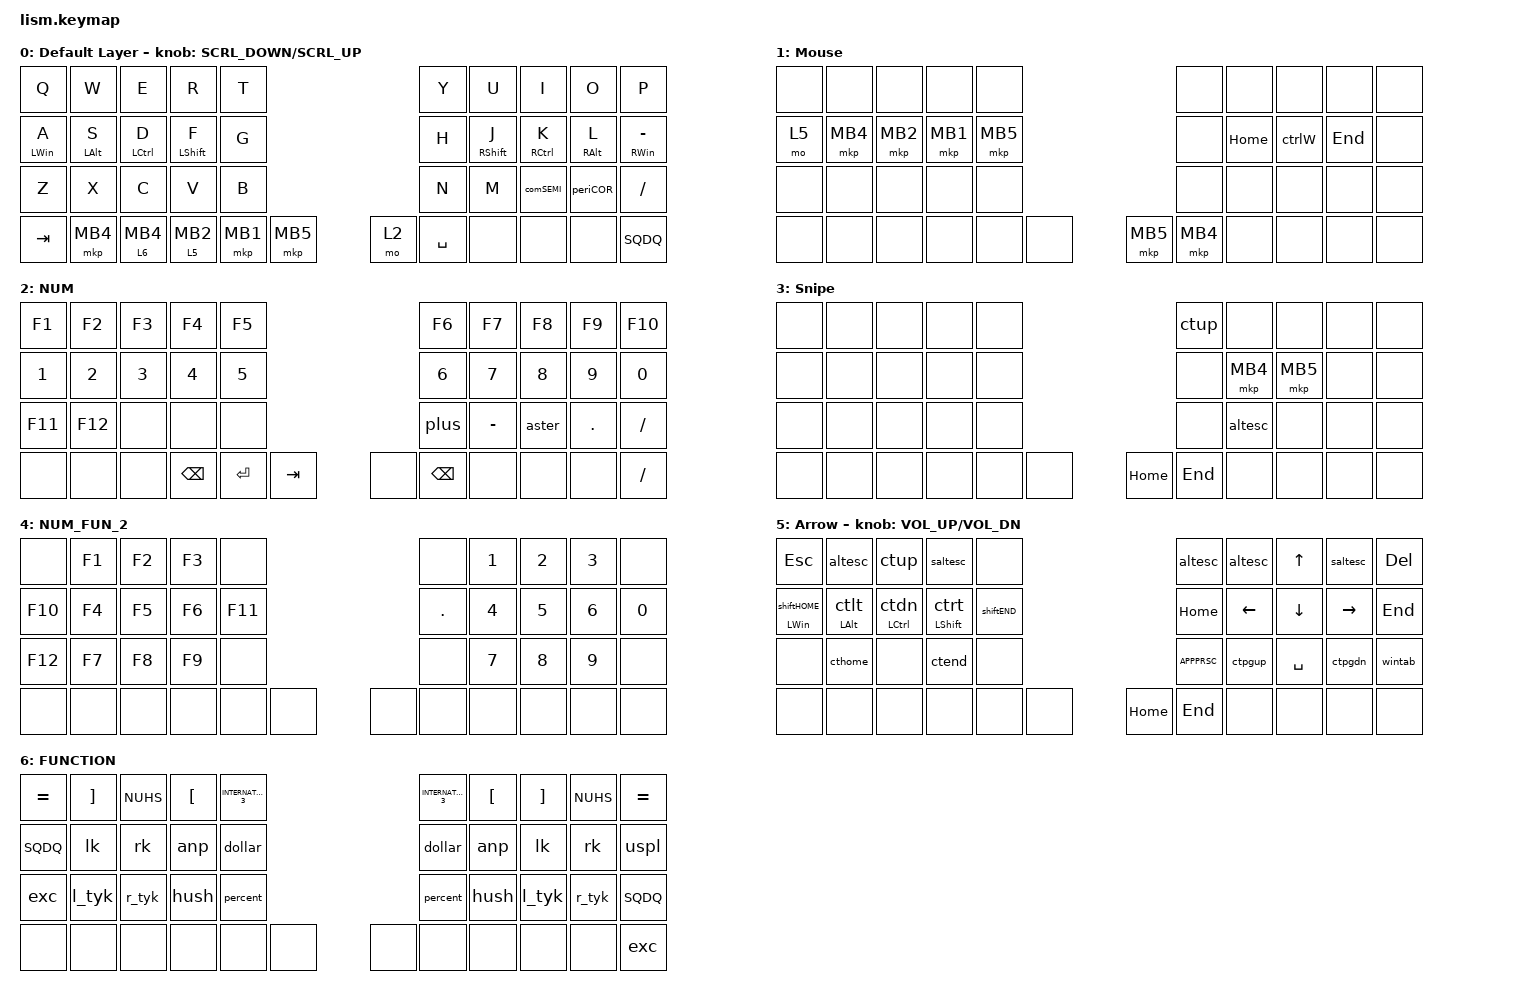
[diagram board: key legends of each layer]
#define ZMK_POINTING_DEFAULT_SCRL_VAL 200

#include <dt-bindings/zmk/mouse.h>
#include <behaviors.dtsi>
#include <dt-bindings/zmk/keys.h>
#include <dt-bindings/zmk/pointing.h>

//&mkp_input_listener { input-processors = <&zip_temp_layer 1 250>; };
//&msc_input_listener { input-processors = <&zip_temp_layer 1 10000>; };

/ {
    macros {
        emoji: emoji_macro {
            compatible = "zmk,behavior-macro";
            label = "EMOJI";
            #binding-cells = <0>;
            bindings =
                <&macro_press>,
                <&kp CAPSLOCK>,
                <&macro_tap>,
                <&kp E>,
                <&macro_release>,
                <&kp CAPSLOCK>;
        };

        exc: exc {
            compatible = "zmk,behavior-macro";
            #binding-cells = <0>;
            bindings =
                <&macro_press>,
                <&kp LEFT_SHIFT>,
                <&macro_wait_time 50>,
                <&kp N1>,
                <&macro_release>,
                <&kp N1 &kp LEFT_SHIFT>;

            label = "EXC";
        };

        dq: dq {
            compatible = "zmk,behavior-macro";
            #binding-cells = <0>;
            bindings =
                <&macro_press>,
                <&kp LEFT_SHIFT>,
                <&macro_wait_time 50>,
                <&kp N2>,
                <&macro_release>,
                <&kp N2 &kp LEFT_SHIFT>;

            label = "DQ";
        };

        hush: hush {
            compatible = "zmk,behavior-macro";
            #binding-cells = <0>;
            bindings =
                <&macro_press>,
                <&kp LEFT_SHIFT>,
                <&macro_wait_time 50>,
                <&kp N3>,
                <&macro_release>,
                <&kp N3 &kp LEFT_SHIFT>;

            label = "HUSH";
        };

        dollar: dollar {
            compatible = "zmk,behavior-macro";
            #binding-cells = <0>;
            bindings =
                <&macro_press>,
                <&kp LEFT_SHIFT>,
                <&macro_wait_time 50>,
                <&kp N4>,
                <&macro_release>,
                <&kp N4 &kp LEFT_SHIFT>;

            label = "DOLLAR";
        };

        percent: percent {
            compatible = "zmk,behavior-macro";
            #binding-cells = <0>;
            bindings =
                <&macro_press>,
                <&kp LEFT_SHIFT>,
                <&macro_wait_time 50>,
                <&kp N5>,
                <&macro_release>,
                <&kp N5 &kp LEFT_SHIFT>;

            label = "PERCENT";
        };

        anp: anp {
            compatible = "zmk,behavior-macro";
            #binding-cells = <0>;
            bindings =
                <&macro_press>,
                <&kp LEFT_SHIFT>,
                <&macro_wait_time 50>,
                <&kp N6>,
                <&macro_release>,
                <&kp N6 &kp LEFT_SHIFT>;

            label = "ANP";
        };

        sq: sq {
            compatible = "zmk,behavior-macro";
            #binding-cells = <0>;
            bindings =
                <&macro_press>,
                <&kp LEFT_SHIFT>,
                <&macro_wait_time 50>,
                <&kp N7>,
                <&macro_release>,
                <&kp N7 &kp LEFT_SHIFT>;

            label = "SQ";
        };

        lk: lk {
            compatible = "zmk,behavior-macro";
            #binding-cells = <0>;
            bindings =
                <&macro_press>,
                <&kp LEFT_SHIFT>,
                <&macro_wait_time 50>,
                <&kp N8>,
                <&macro_release>,
                <&kp N8 &kp LEFT_SHIFT>;

            label = "lk";
        };

        rk: rk {
            compatible = "zmk,behavior-macro";
            #binding-cells = <0>;
            bindings =
                <&macro_press>,
                <&kp LEFT_SHIFT>,
                <&macro_wait_time 50>,
                <&kp N9>,
                <&macro_release>,
                <&kp N9 &kp LEFT_SHIFT>;

            label = "RK";
        };

        us: us {
            compatible = "zmk,behavior-macro";
            #binding-cells = <0>;
            bindings =
                <&macro_press>,
                <&kp LEFT_SHIFT>,
                <&macro_wait_time 50>,
                <&kp INT_RO>,
                <&macro_release>,
                <&kp INT_RO &kp LEFT_SHIFT>;

            label = "US";
        };

        pl: pl {
            compatible = "zmk,behavior-macro";
            #binding-cells = <0>;
            bindings =
                <&macro_press>,
                <&kp RSHFT>,
                <&macro_wait_time 50>,
                <&kp INT3>,
                <&macro_release>,
                <&kp INT3 &kp RSHFT>;

            label = "PL";
        };

        eql: eql {
            compatible = "zmk,behavior-macro";
            #binding-cells = <0>;
            bindings =
                <&macro_press>,
                <&kp LEFT_SHIFT>,
                <&macro_wait_time 50>,
                <&kp MINUS>,
                <&macro_release>,
                <&kp MINUS &kp LEFT_SHIFT>;

            label = "EQL";
        };

        tilde: tilde {
            compatible = "zmk,behavior-macro";
            #binding-cells = <0>;
            bindings =
                <&macro_press>,
                <&kp LEFT_SHIFT>,
                <&macro_wait_time 50>,
                <&kp EQUAL>,
                <&macro_release>,
                <&kp EQUAL &kp LEFT_SHIFT>;

            label = "TILDE";
        };

        plus: plus {
            compatible = "zmk,behavior-macro";
            #binding-cells = <0>;
            bindings =
                <&macro_press>,
                <&kp LEFT_SHIFT>,
                <&macro_wait_time 50>,
                <&kp SEMI>,
                <&macro_release>,
                <&kp SEMI &kp LEFT_SHIFT>;

            label = "PLUS";
        };

        aster: aster {
            compatible = "zmk,behavior-macro";
            #binding-cells = <0>;
            bindings =
                <&macro_press>,
                <&kp LEFT_SHIFT>,
                <&macro_wait_time 50>,
                <&kp SINGLE_QUOTE>,
                <&macro_release>,
                <&kp SINGLE_QUOTE &kp LEFT_SHIFT>;

            label = "ASTER";
        };

        stab: stab {
            compatible = "zmk,behavior-macro";
            #binding-cells = <0>;
            bindings =
                <&macro_press>,
                <&kp LEFT_SHIFT>,
                <&macro_wait_time 20>,
                <&kp TAB>,
                <&macro_release>,
                <&kp TAB &kp LEFT_SHIFT>;

            label = "STAB";
        };

        endapp: endapp {
            compatible = "zmk,behavior-macro";
            #binding-cells = <0>;
            bindings =
                <&macro_press>,
                <&kp LEFT_ALT>,
                <&macro_wait_time 50>,
                <&kp F4>,
                <&macro_release>,
                <&kp F4 &kp LEFT_ALT>;

            label = "ENDAPP";
        };

        calte: calte {
            compatible = "zmk,behavior-macro";
            #binding-cells = <0>;
            bindings = <&kp N3 &kp N7 &kp N0 &kp N8 &kp TAB &kp Q &kp W &kp E &kp R &kp T &kp Y &kp U &kp I &kp O &kp P &kp N1 &kp N2 &kp N3 &kp ENTER>;
            label = "CALTE";
        };

        evalue: evalue {
            compatible = "zmk,behavior-macro";
            #binding-cells = <0>;
            bindings = <&kp N3 &kp N7 &kp N0 &kp N8 &kp TAB &kp N0 &kp N8 &kp N6 &kp N2 &kp ENTER>;
            label = "EVALUE";
        };

        ctpgup: ctpgup {
            compatible = "zmk,behavior-macro";
            #binding-cells = <0>;
            bindings =
                <&macro_press>,
                <&kp LCTRL>,
                <&macro_wait_time 20>,
                <&kp PG_UP>,
                <&macro_release>,
                <&kp PG_UP &kp LCTRL>;

            label = "CTPGUP";
        };

        ctpgdn: ctpgdn {
            compatible = "zmk,behavior-macro";
            #binding-cells = <0>;
            bindings =
                <&macro_press>,
                <&kp LCTRL>,
                <&macro_wait_time 20>,
                <&kp PG_DN>,
                <&macro_release>,
                <&kp PG_DN &kp LCTRL>;

            label = "CTPGDN";
        };

        cthome: cthome {
            compatible = "zmk,behavior-macro";
            #binding-cells = <0>;
            bindings =
                <&macro_press>,
                <&kp LCTRL>,
                <&macro_wait_time 50>,
                <&kp HOME>,
                <&macro_release>,
                <&kp HOME &kp LCTRL>;

            label = "CTHOME";
        };

        ctend: ctend {
            compatible = "zmk,behavior-macro";
            #binding-cells = <0>;
            bindings =
                <&macro_press>,
                <&kp LCTRL>,
                <&macro_wait_time 50>,
                <&kp END>,
                <&macro_release>,
                <&kp END &kp LCTRL>;

            label = "CTEND";
        };

        ctdel: ctdel {
            compatible = "zmk,behavior-macro";
            #binding-cells = <0>;
            bindings =
                <&macro_press>,
                <&kp LCTRL>,
                <&macro_wait_time 50>,
                <&kp DELETE>,
                <&macro_release>,
                <&kp DELETE &kp LCTRL>;

            label = "CTDEL";
        };

        ctrlW: copy {
            compatible = "zmk,behavior-macro";
            #binding-cells = <0>;
            bindings =
                <&macro_press>,
                <&kp LCTRL>,
                <&macro_wait_time 50>,
                <&kp W>,
                <&macro_release>,
                <&kp W &kp LCTRL>;

            label = "COPY";
        };

        paste: paste {
            compatible = "zmk,behavior-macro";
            #binding-cells = <0>;
            bindings =
                <&macro_press>,
                <&kp LCTRL>,
                <&macro_wait_time 50>,
                <&kp V>,
                <&macro_release>,
                <&kp V &kp LCTRL>;

            label = "PASTE";
        };

        cut: cut {
            compatible = "zmk,behavior-macro";
            #binding-cells = <0>;
            bindings =
                <&macro_press>,
                <&kp LCTRL>,
                <&macro_wait_time 50>,
                <&kp Z>,
                <&macro_release>,
                <&kp Z &kp LCTRL>;

            label = "CUT";
        };

        VBE: VBE {
            compatible = "zmk,behavior-macro";
            #binding-cells = <0>;
            bindings =
                <&macro_press>,
                <&kp LEFT_ALT>,
                <&macro_wait_time 50>,
                <&kp F11>,
                <&macro_release>,
                <&kp F11 &kp LEFT_ALT>;

            label = "VBE";
        };

        prompt: prompt {
            compatible = "zmk,behavior-macro";
            #binding-cells = <0>;
            bindings =
                <&macro_press>,
                <&kp LEFT_WIN>,
                <&macro_wait_time 50>,
                <&kp R>,
                <&macro_release>,
                <&kp R &kp LEFT_WIN>;

            label = "PROMPT";
        };

        ca: ca {
            compatible = "zmk,behavior-macro";
            #binding-cells = <0>;
            bindings =
                <&macro_press>,
                <&kp LCTRL>,
                <&macro_wait_time 50>,
                <&kp A>,
                <&macro_release>,
                <&kp A &kp LCTRL>;

            label = "CA";
        };

        ctrl_t: ctrl_t {
            compatible = "zmk,behavior-macro";
            #binding-cells = <0>;
            bindings =
                <&macro_press>,
                <&kp LCTRL>,
                <&macro_wait_time 50>,
                <&kp T>,
                <&macro_release>,
                <&kp T &kp LCTRL>;

            label = "CTRL_T";
        };

        ctrl_w: ctrl_w {
            compatible = "zmk,behavior-macro";
            #binding-cells = <0>;
            bindings =
                <&macro_press>,
                <&kp LCTRL>,
                <&macro_wait_time 50>,
                <&kp W>,
                <&macro_release>,
                <&kp W &kp LCTRL>;

            label = "CTRL_W";
        };

        altleft: altleft {
            compatible = "zmk,behavior-macro";
            #binding-cells = <0>;
            bindings =
                <&macro_press>,
                <&kp LEFT_ALT>,
                <&macro_wait_time 20>,
                <&kp LEFT_ARROW>,
                <&macro_release>,
                <&kp LEFT_ARROW &kp LALT>;

            label = "ALTLEFT";
        };

        altright: altright {
            compatible = "zmk,behavior-macro";
            #binding-cells = <0>;
            bindings =
                <&macro_press>,
                <&kp LALT>,
                <&macro_wait_time 20>,
                <&kp RIGHT>,
                <&macro_release>,
                <&kp RIGHT &kp LEFT_ALT>;

            label = "ALTRIGHT";
        };

        altup: altup {
            compatible = "zmk,behavior-macro";
            #binding-cells = <0>;
            bindings =
                <&macro_press>,
                <&kp LEFT_ALT>,
                <&macro_wait_time 20>,
                <&kp UP_ARROW>,
                <&macro_release>,
                <&kp UP_ARROW &kp LALT>;

            label = "ALTUP";
        };

        altdown: altdown {
            compatible = "zmk,behavior-macro";
            #binding-cells = <0>;
            bindings =
                <&macro_press>,
                <&kp LEFT_ALT>,
                <&macro_wait_time 20>,
                <&kp DOWN>,
                <&macro_release>,
                <&kp DOWN_ARROW &kp LEFT_ALT>;

            label = "ALTDOWN";
        };

        L_yamakakko: lyk {
            compatible = "zmk,behavior-macro";
            #binding-cells = <0>;
            bindings =
                <&macro_press>,
                <&kp LEFT_SHIFT>,
                <&macro_wait_time 20>,
                <&kp COMMA>,
                <&macro_release>,
                <&kp COMMA &kp LEFT_SHIFT>;

            label = "LYK";
        };

        R_yamakakko: Ryamak {
            compatible = "zmk,behavior-macro";
            #binding-cells = <0>;
            bindings =
                <&macro_press>,
                <&kp LEFT_SHIFT>,
                <&macro_wait_time 20>,
                <&kp PERIOD>,
                <&macro_release>,
                <&kp PERIOD &kp LEFT_SHIFT>;

            label = "RYAMAK";
        };

        altesc: altesc {
            compatible = "zmk,behavior-macro";
            #binding-cells = <0>;
            bindings =
                <&macro_press>,
                <&kp RIGHT_ALT>,
                <&macro_wait_time 20>,
                <&kp ESCAPE>,
                <&macro_release>,
                <&kp ESCAPE &kp RIGHT_ALT>;

            label = "ALTESC";
        };

        saltesc: saltesc {
            compatible = "zmk,behavior-macro";
            #binding-cells = <0>;
            bindings =
                <&macro_press>,
                <&kp RIGHT_ALT &kp RSHIFT>,
                <&macro_wait_time 20>,
                <&kp ESCAPE>,
                <&macro_release>,
                <&kp ESCAPE &kp RIGHT_ALT &kp RSHIFT>;

            label = "SALTESC";
        };

        ctrlplus: ctrlplus {
            compatible = "zmk,behavior-macro";
            #binding-cells = <0>;
            bindings =
                <&macro_press>,
                <&kp LCTRL &kp LSHFT>,
                <&macro_wait_time 20>,
                <&kp SEMI>,
                <&macro_release>,
                <&kp SEMI &kp LCTRL &kp LSHFT>;

            label = "CTRLPLUS";
        };

        ctrlminus: ctrlminus {
            compatible = "zmk,behavior-macro";
            #binding-cells = <0>;
            bindings =
                <&macro_press>,
                <&kp LCTRL>,
                <&macro_wait_time 50>,
                <&kp MINUS>,
                <&macro_release>,
                <&kp MINUS &kp LCTRL>;

            label = "CTRLMINUS";
        };

        ctup: ctup {
            compatible = "zmk,behavior-macro";
            #binding-cells = <0>;
            bindings =
                <&macro_press>,
                <&kp LCTRL>,
                <&macro_wait_time 50>,
                <&kp UP_ARROW>,
                <&macro_release>,
                <&kp UP_ARROW &kp LCTRL>;

            label = "CTUP";
        };

        ctdn: ctdn {
            compatible = "zmk,behavior-macro";
            #binding-cells = <0>;
            bindings =
                <&macro_press>,
                <&kp LCTRL>,
                <&macro_wait_time 50>,
                <&kp DOWN_ARROW>,
                <&macro_release>,
                <&kp DOWN_ARROW &kp LCTRL>;

            label = "CTDN";
        };

        ctlt: ctlt {
            compatible = "zmk,behavior-macro";
            #binding-cells = <0>;
            bindings =
                <&macro_press>,
                <&kp LCTRL>,
                <&macro_wait_time 50>,
                <&kp LEFT_ARROW>,
                <&macro_release>,
                <&kp LEFT_ARROW &kp LCTRL>;

            label = "CTLT";
        };

        ctrt: ctrt {
            compatible = "zmk,behavior-macro";
            #binding-cells = <0>;
            bindings =
                <&macro_press>,
                <&kp LCTRL>,
                <&macro_wait_time 50>,
                <&kp RIGHT>,
                <&macro_release>,
                <&kp RIGHT &kp LCTRL>;

            label = "CTRT";
        };

        l_tyk: l_tyk {
            compatible = "zmk,behavior-macro";
            #binding-cells = <0>;
            bindings =
                <&macro_press>,
                <&kp LEFT_SHIFT>,
                <&macro_wait_time 20>,
                <&kp RIGHT_BRACKET>,
                <&macro_release>,
                <&kp RIGHT_BRACKET &kp LEFT_SHIFT>;

            label = "L_TYK";
        };

        r_tyk: r_tyk {
            compatible = "zmk,behavior-macro";
            #binding-cells = <0>;
            bindings =
                <&macro_press>,
                <&kp LEFT_SHIFT>,
                <&macro_wait_time 20>,
                <&kp NUHS>,
                <&macro_release>,
                <&kp NUHS &kp LEFT_SHIFT>;

            label = "R_TYK";
        };

        ctbs: ctbs {
            compatible = "zmk,behavior-macro";
            #binding-cells = <0>;
            bindings =
                <&macro_press>,
                <&kp LCTRL>,
                <&macro_wait_time 20>,
                <&kp BACKSPACE>,
                <&macro_release>,
                <&kp BACKSPACE &kp LCTRL>;

            label = "CTBS";
        };

        wintab: wintab {
            compatible = "zmk,behavior-macro";
            #binding-cells = <0>;
            bindings =
                <&macro_press>,
                <&kp LWIN>,
                <&macro_wait_time 20>,
                <&kp TAB>,
                <&macro_release>,
                <&kp TAB &kp LWIN>;

            label = "WINTAB";
        };

        altprsc: altprsc {
            compatible = "zmk,behavior-macro";
            #binding-cells = <0>;
            bindings =
                <&macro_press>,
                <&kp LEFT_ALT>,
                <&macro_wait_time 20>,
                <&kp PRINTSCREEN>,
                <&macro_release>,
                <&kp PRINTSCREEN &kp LEFT_ALT>;

            label = "ALTPRSC";
        };

        winshiftS: winshiftS {
            compatible = "zmk,behavior-macro";
            #binding-cells = <0>;
            bindings =
                <&macro_press>,
                <&kp LEFT_WIN>,
                <&macro_wait_time 20>,
                <&kp LSHFT>,
                <&macro_wait_time 20>,
                <&kp S>,
                <&macro_release>,
                <&kp S &kp LEFT_WIN &kp LSHFT>;

            label = "WINSHIFTS";
        };

        shiftHOME: shiftHOME {
            compatible = "zmk,behavior-macro";
            #binding-cells = <0>;
            bindings =
                <&macro_press>,
                <&kp LEFT_SHIFT>,
                <&macro_wait_time 20>,
                <&kp HOME>,
                <&macro_release>,
                <&kp HOME &kp LEFT_SHIFT>;

            label = "SHIFTHOME";
        };

        shiftEND: shiftEND {
            compatible = "zmk,behavior-macro";
            #binding-cells = <0>;
            bindings =
                <&macro_press>,
                <&kp LEFT_SHIFT>,
                <&macro_wait_time 20>,
                <&kp END>,
                <&macro_release>,
                <&kp END &kp LEFT_SHIFT>;

            label = "SHIFTEND";
        };
    };

    behaviors {
        encoder_msc: sensor_rotate_msc {
            compatible = "zmk,behavior-sensor-rotate-var";
            #sensor-binding-cells = <2>;
            bindings = <&msc>, <&msc>;

            tap-ms = <20>;
        };

        encoder_kp: sensor_rotate_kp {
            compatible = "zmk,behavior-sensor-rotate-var";
            #sensor-binding-cells = <2>;
            bindings = <&kp>, <&kp>;
        };

        L_HRM: L_HRM {
            compatible = "zmk,behavior-hold-tap";
            label = "L_HRM";
            bindings = <&kp>, <&kp>;

            #binding-cells = <2>;
            tapping-term-ms = <400>;
            quick-tap-ms = <175>;
            require-prior-idle-ms = <200>;
            flavor = "balanced";
            hold-trigger-key-positions = <5 6 7 8 9 15 16 17 18 19 25 26 27 28 29 36 37 38 39 40 41>;
            hold-trigger-on-release;
        };

        R_HRM: R_HRM {
            compatible = "zmk,behavior-hold-tap";
            label = "R_HRM";
            bindings = <&kp>, <&kp>;

            #binding-cells = <2>;
            tapping-term-ms = <400>;
            quick-tap-ms = <175>;
            require-prior-idle-ms = <200>;
            flavor = "balanced";
            hold-trigger-key-positions = <0 1 2 3 4 10 11 12 13 14 20 21 22 23 24 30 31 32 33 34 35>;
            hold-trigger-on-release;
        };

        L_THUMB: L_THUMB {
            compatible = "zmk,behavior-hold-tap";
            label = "L_THUMB";
            bindings = <&mo>, <&kp>;

            #binding-cells = <2>;
            tapping-term-ms = <200>;
            quick-tap-ms = <175>;
            require-prior-idle-ms = <150>;
            flavor = "balanced";
            hold-trigger-key-positions = <5 6 7 8 9 15 16 17 18 19 10 11 12 13 14 0 1 2 3 4 20 21 22 23 24 30 31 32 33 34 35 25 26 27 28 29 37 38 39 40 41 36>;
            hold-trigger-on-release;
        };

        R_THUMB: R_THUMB {
            compatible = "zmk,behavior-hold-tap";
            label = "R_THUMB";
            bindings = <&mo>, <&kp>;

            #binding-cells = <2>;
            tapping-term-ms = <200>;
            quick-tap-ms = <175>;
            require-prior-idle-ms = <150>;
            flavor = "balanced";
            hold-trigger-key-positions = <0 1 2 3 4 10 11 12 13 14 20 21 22 23 24 30 31 32 33 34 35>;
            hold-trigger-on-release;
        };

        S_key: S_key {
            compatible = "zmk,behavior-sticky-key";
            label = "S_KEY";
            bindings = <&kp>;
            #binding-cells = <1>;
            release-after-ms = <500>;
        };

        C_W: C_W {
            compatible = "zmk,behavior-caps-word";
            label = "C_W";
            #binding-cells = <0>;
            continue-list = <INT_YEN INT_RO A B C D E F G H I J K L M N O P Q R S T U V W X Y Z N1 N2 N3 N4 N5 N6 N7 N8 N9 N0 MINUS BACKSPACE>;
            mods = <(MOD_LSFT|MOD_RSFT)>;
        };

        coron: coron {
            compatible = "zmk,behavior-mod-morph";
            label = "CORON";
            bindings = <&kp PERIOD>, <&kp SINGLE_QUOTE>;

            #binding-cells = <0>;
            mods = <(MOD_LCTL|MOD_LSFT|MOD_LALT|MOD_LGUI)>;
        };

        semicoron: semicoron {
            compatible = "zmk,behavior-mod-morph";
            label = "SEMICORON";
            bindings = <&kp COMMA>, <&kp SEMICOLON>;

            #binding-cells = <0>;
            mods = <(MOD_LCTL|MOD_LSFT|MOD_LALT|MOD_LGUI)>;
        };

        hussexc: hussexc {
            compatible = "zmk,behavior-mod-morph";
            label = "HUSSEXC";
            bindings = <&hush>, <&kp NUMBER_1>;

            #binding-cells = <0>;
            mods = <(MOD_LCTL|MOD_LSFT|MOD_LALT|MOD_LGUI)>;
            keep-mods = <(MOD_LSFT)>;
        };

        MML_KAKKO: MML_KAKKO {
            compatible = "zmk,behavior-mod-morph";
            label = "MML_KAKKO";
            bindings = <&lk>, <&kp COMMA>;

            #binding-cells = <0>;
            mods = <(MOD_LCTL|MOD_LSFT|MOD_LALT|MOD_LGUI)>;
            keep-mods = <(MOD_LSFT)>;
        };

        MMR_KAKKO: MMR_KAKKO {
            compatible = "zmk,behavior-mod-morph";
            label = "MMR_KAKKO";
            bindings = <&rk>, <&kp PERIOD>;

            #binding-cells = <0>;
            mods = <(MOD_LCTL|MOD_LSFT|MOD_LALT|MOD_LGUI)>;
            keep-mods = <(MOD_LSFT)>;
        };

        YOKOBOU: YOKOBOU {
            compatible = "zmk,behavior-mod-morph";
            label = "YOKOBOU";
            bindings = <&kp MINUS>, <&kp MINUS>;

            #binding-cells = <0>;
            mods = <(MOD_LSFT|MOD_LCTL|MOD_LALT|MOD_LGUI)>;
            keep-mods = <(MOD_LSFT)>;
        };

        RMTwin: RMTwin {
            compatible = "zmk,behavior-hold-tap";
            label = "RMTWIN";
            bindings = <&kp>, <&YOKOBOU>;

            #binding-cells = <2>;
            tapping-term-ms = <400>;
            quick-tap-ms = <175>;
            require-prior-idle-ms = <200>;
            flavor = "balanced";
            hold-trigger-key-positions = <0 1 2 3 4 10 11 12 13 14 20 21 22 23 24 30 31 32 33 34 35>;
            hold-trigger-on-release;
        };

        L_LT: L_LT {
            compatible = "zmk,behavior-hold-tap";
            label = "L_LT";
            bindings = <&mo>, <&kp>;

            #binding-cells = <2>;
            tapping-term-ms = <200>;
            quick-tap-ms = <175>;
            require-prior-idle-ms = <200>;
            flavor = "balanced";
            hold-trigger-key-positions = <5 6 7 8 9 15 16 17 18 19 25 26 27 28 29 37 38 39 40 41 36>;
            hold-trigger-on-release;
        };

        R_LT: R_LT {
            compatible = "zmk,behavior-hold-tap";
            label = "R_LT";
            bindings = <&mo>, <&kp>;

            #binding-cells = <2>;
            tapping-term-ms = <200>;
            quick-tap-ms = <175>;
            require-prior-idle-ms = <200>;
            flavor = "balanced";
            hold-trigger-key-positions = <0 1 2 3 4 10 11 12 13 14 20 21 22 23 24 30 31 32 33 34 35>;
            hold-trigger-on-release;
        };

        athutt: athutt {
            compatible = "zmk,behavior-mod-morph";
            label = "ATHUTT";
            bindings = <&kp LBKT>, <&kp EQUAL>;

            #binding-cells = <0>;
            mods = <(MOD_LCTL|MOD_LSFT|MOD_LALT|MOD_LGUI)>;
        };

        plper: plper {
            compatible = "zmk,behavior-mod-morph";
            label = "PLPER";
            bindings = <&pl>, <&kp N5>;

            #binding-cells = <0>;
            mods = <(MOD_LSFT)>;
            keep-mods = <(MOD_LSFT)>;
        };

        sl_sp: sl_sp {
            compatible = "zmk,behavior-hold-tap";
            label = "SL_SP";
            bindings = <&mo>, <&kp>;

            #binding-cells = <2>;
            tapping-term-ms = <180>;
            flavor = "balanced";
        };

        R_Th_space: R_Th_space {
            compatible = "zmk,behavior-hold-tap";
            label = "R_TH_SPACE";
            bindings = <&mo>, <&kp>;

            #binding-cells = <2>;
            tapping-term-ms = <180>;
            quick-tap-ms = <170>;
            require-prior-idle-ms = <170>;
            flavor = "hold-preferred";
            hold-trigger-key-positions = <5 6 7 9 8 15 16 5 6 7 8 9 15 16 17 18 19 25 26 27 28 29 37 38 39 40 41 36>;
            hold-trigger-on-release;
        };

        SL_SP2: SL_SP2 {
            compatible = "zmk,behavior-hold-tap";
            label = "SL_SP2";
            bindings = <&mo>, <&kp>;

            #binding-cells = <2>;
            tapping-term-ms = <185>;
            flavor = "balanced";
        };

        L_carte: L_carte {
            compatible = "zmk,behavior-hold-tap";
            label = "L_CARTE";
            bindings = <&kp>, <&calte>;

            #binding-cells = <2>;
            tapping-term-ms = <170>;
            flavor = "balanced";
        };

        R_evalue: R_evalue {
            compatible = "zmk,behavior-hold-tap";
            label = "R_EVALUE";
            bindings = <&kp>, <&evalue>;

            #binding-cells = <2>;
            tapping-term-ms = <170>;
            flavor = "balanced";
        };

        L_THUMB3: L_THUMB3 {
            compatible = "zmk,behavior-hold-tap";
            label = "L_THUMB3";
            bindings = <&mo>, <&altesc>;

            #binding-cells = <2>;
            tapping-term-ms = <200>;
            quick-tap-ms = <175>;
            require-prior-idle-ms = <150>;
            flavor = "balanced";
            hold-trigger-key-positions = <5 6 7 8 9 15 16 17 18 19 25 26 27 28 29 36 37 38 39 40 41>;
            hold-trigger-on-release;
        };

        MLSP: MLSP {
            compatible = "zmk,behavior-hold-tap";
            label = "MLSP";
            bindings = <&mo>, <&kp>;

            #binding-cells = <2>;
            tapping-term-ms = <180>;
            quick-tap-ms = <150>;
            flavor = "balanced";
            hold-trigger-key-positions = <16 37 36 18 26>;
            require-prior-idle-ms = <200>;
            hold-trigger-on-release;
        };

        SLSP: SLSP {
            compatible = "zmk,behavior-hold-tap";
            label = "SLSP";
            bindings = <&mo>, <&none>;

            #binding-cells = <2>;
            tapping-term-ms = <1>;
        };

        USPL_L5: USPL_L5 {
            compatible = "zmk,behavior-hold-tap";
            label = "USPL_L5";
            bindings = <&mo>, <&uspl>;

            #binding-cells = <2>;
            tapping-term-ms = <180>;
            quick-tap-ms = <175>;
            flavor = "balanced";
            hold-trigger-key-positions = <16 17 15 18>;
        };

        MINUS_L5: MINUS_L5 {
            compatible = "zmk,behavior-hold-tap";
            label = "MINUS_L5";
            bindings = <&mo>, <&kp>;

            #binding-cells = <2>;
            tapping-term-ms = <175>;
            quick-tap-ms = <175>;
            flavor = "balanced";
            hold-trigger-key-positions = <15 16 17 18 7 36 37>;
        };

        SL_SP3: SL_SP3 {
            compatible = "zmk,behavior-hold-tap";
            label = "SL_SP3";
            bindings = <&mo>, <&mkp>;

            #binding-cells = <2>;
            tapping-term-ms = <180>;
        };

        uspl: uspl {
            compatible = "zmk,behavior-mod-morph";
            label = "USPL";
            bindings = <&us>, <&pl>;

            #binding-cells = <0>;
            mods = <(MOD_LSFT)>;
        };

        mius: mius {
            compatible = "zmk,behavior-tap-dance";
            label = "MIUS";
            #binding-cells = <0>;
            bindings = <&SL_SP2 4 MINUS>, <&us>;

            tapping-term-ms = <180>;
        };

        periCOR: periCOR {
            compatible = "zmk,behavior-tap-dance";
            label = "PERICOR";
            #binding-cells = <0>;
            bindings = <&kp PERIOD>, <&kp APOSTROPHE>;

            tapping-term-ms = <180>;
        };

        comSEMI: comSEMI {
            compatible = "zmk,behavior-tap-dance";
            label = "COMSEMI";
            #binding-cells = <0>;
            bindings = <&kp COMMA>, <&kp SEMI>;

            tapping-term-ms = <180>;
        };

        altcontrol: altcontrol {
            compatible = "zmk,behavior-tap-dance";
            label = "ALTCONTROL";
            #binding-cells = <0>;
            bindings = <&L_THUMB 2 LEFT_ALT>, <&kp LCTRL>;
        };

        HIUS: HIUS {
            compatible = "zmk,behavior-tap-dance";
            label = "HIUS";
            #binding-cells = <0>;
            bindings = <&kp MINUS>, <&us>;
        };

        SLPL: SLPL {
            compatible = "zmk,behavior-tap-dance";
            label = "SLPL";
            #binding-cells = <0>;
            bindings = <&kp SLASH>, <&pl>;
        };

        SP_CTDN: SP_CTDN {
            compatible = "zmk,behavior-hold-tap";
            label = "SP_CTDN";
            bindings = <&kp>, <&ctdn>;

            #binding-cells = <2>;
            tapping-term-ms = <180>;
            flavor = "balanced";
            hold-trigger-key-positions = <7 17 16 18>;
            hold-trigger-on-release;
        };

        SP_CTLT: SP_CTLT {
            compatible = "zmk,behavior-hold-tap";
            label = "SP_CTLT";
            bindings = <&kp>, <&ctlt>;

            #binding-cells = <2>;
            tapping-term-ms = <180>;
            flavor = "balanced";
            hold-trigger-key-positions = <7 16 17 18>;
            hold-trigger-on-release;
        };

        SP_CTRT: SP_CTRT {
            compatible = "zmk,behavior-hold-tap";
            label = "SP_CTRT";
            bindings = <&kp>, <&ctrt>;

            #binding-cells = <2>;
            tapping-term-ms = <180>;
            flavor = "balanced";
            hold-trigger-key-positions = <7 17 16 17 18>;
            hold-trigger-on-release;
        };

        sqCOR: sqCOR {
            compatible = "zmk,behavior-tap-dance";
            label = "SQCOR";
            #binding-cells = <0>;
            bindings = <&sq>, <&kp APOSTROPHE>;
        };

        dqSEMI: dqSEMI {
            compatible = "zmk,behavior-tap-dance";
            label = "DQSEMI";
            #binding-cells = <0>;
            bindings = <&dq>, <&kp SEMI>;
        };

        l_HI_US: l_HI_US {
            compatible = "zmk,behavior-tap-dance";
            label = "L_HI_US";
            #binding-cells = <0>;
            bindings = <&kp L>, <&kp MINUS>, <&us>;

            tapping-term-ms = <170>;
        };

        SQDQ: SQDQ {
            compatible = "zmk,behavior-tap-dance";
            label = "SQDQ";
            #binding-cells = <0>;
            bindings = <&dq>, <&sq>;
        };

        APPPRSC: APPPRSC {
            compatible = "zmk,behavior-tap-dance";
            label = "APPPRSC";
            #binding-cells = <0>;
            bindings = <&kp K_CONTEXT_MENU>, <&kp PRINTSCREEN>;
        };

        SP_SHIFTHOME: SP_SHIFTHOME {
            compatible = "zmk,behavior-hold-tap";
            label = "SP_SHIFTHOME";
            bindings = <&kp>, <&shiftHOME>;

            #binding-cells = <2>;
            tapping-term-ms = <180>;
            flavor = "balanced";
            hold-trigger-key-positions = <7 17 16 17 18>;
            hold-trigger-on-release;
        };

        SP_CTUP: SP_CTUP {
            compatible = "zmk,behavior-hold-tap";
            label = "SP_CTUP";
            bindings = <&kp>, <&ctup>;

            #binding-cells = <2>;
            tapping-term-ms = <180>;
            flavor = "balanced";
            hold-trigger-key-positions = <7 17 16 18>;
            hold-trigger-on-release;
        };

        MB245: MB245 {
            compatible = "zmk,behavior-tap-dance";
            label = "MB245";
            #binding-cells = <0>;
            bindings = <&mkp MB2>, <&mkp MB4>, <&mkp MB5>;
        };

        MBMO_THUMB: MBMO_THUMB {
            compatible = "zmk,behavior-hold-tap";
            label = "MBMO_THUMB";
            bindings = <&mo>, <&mkp>;

            #binding-cells = <2>;
            tapping-term-ms = <180>;
            quick-tap-ms = <175>;
            require-prior-idle-ms = <175>;
            flavor = "balanced";
            hold-trigger-key-positions = <5 6 7 8 9 15 16 17 18 19 25 26 27 28 29 37 38 39 40 41 36>;
            hold-trigger-on-release;
        };
    };

    combos {
        compatible = "zmk,combos";

        af4 {
            bindings = <&endapp>;
            key-positions = <16 37>;
        };

        CW {
            bindings = <&C_W>;
            key-positions = <6 7>;
        };

        bs {
            bindings = <&kp BACKSPACE>;
            key-positions = <16 17>;
        };

        IME {
            bindings = <&kp GRAVE>;
            key-positions = <13 16>;
        };

        esc {
            bindings = <&kp ESCAPE>;
            key-positions = <1 2>;
        };

        alt {
            bindings = <&kp LEFT_ALT>;
            key-positions = <11 12>;
        };

        ctrl {
            bindings = <&kp LCTRL>;
            key-positions = <12 13>;
        };

        enter {
            bindings = <&kp ENTER>;
            key-positions = <17 18>;
        };

        tab {
            bindings = <&kp TAB>;
            key-positions = <7 8>;
        };

        home {
            bindings = <&kp HOME>;
            key-positions = <6 16>;
        };

        end {
            bindings = <&kp END>;
            key-positions = <7 17>;
        };
    };

    keymap {
        compatible = "zmk,keymap";

        default_layer {
            display-name = "Default Layer";
            bindings = <
&kp Q          &kp W              &kp E              &kp R                &kp T                        &kp Y      &kp U           &kp I           &kp O               &kp P
&L_HRM LWIN A  &L_HRM LEFT_ALT S  &L_HRM LCTRL D     &L_HRM LEFT_SHIFT F  &kp G                        &kp H      &R_HRM RSHFT J  &R_HRM RCTRL K  &R_HRM RIGHT_ALT L  &R_HRM RWIN MINUS
&kp Z          &kp X              &kp C              &kp V                &kp B                        &kp N      &kp M           &comSEMI        &periCOR            &kp SLASH
&kp TAB        &mkp MB4           &MBMO_THUMB 6 MB4  &MBMO_THUMB 5 MB2    &mkp MB1  &mkp MB5    &mo 2  &kp SPACE  &none           &none           &none               &SQDQ
            >;

            sensor-bindings = <&encoder_msc SCRL_DOWN SCRL_UP>;
        };

        AML {
            display-name = "Mouse";
            bindings = <
&none  &none     &none     &none     &none                        &none     &none     &none   &none    &none
&mo 5  &mkp MB4  &mkp MB2  &mkp MB1  &mkp MB5                     &none     &kp HOME  &ctrlW  &kp END  &none
&none  &none     &none     &none     &none                        &none     &none     &none   &none    &none
&none  &none     &none     &none     &none     &none    &mkp MB5  &mkp MB4  &none     &none   &none    &none
            >;
        };

        NUM_FUN_1 {
            display-name = "NUM";
            bindings = <
&kp F1        &kp F2        &kp F3        &kp F4         &kp F5                       &kp F6         &kp F7     &kp F8  &kp F9      &kp F10
&kp NUMBER_1  &kp NUMBER_2  &kp NUMBER_3  &kp NUMBER_4   &kp N5                       &kp NUMBER_6   &kp N7     &kp N8  &kp N9      &kp N0
&kp F11       &kp F12       &none         &none          &none                        &plus          &kp MINUS  &aster  &kp PERIOD  &kp SLASH
&none         &none         &none         &kp BACKSPACE  &kp ENTER  &kp TAB    &none  &kp BACKSPACE  &none      &none   &none       &kp SLASH
            >;
        };

        layer_5 {
            display-name = "Snipe";
            bindings = <
&none  &none  &none  &none  &none                     &ctup    &none     &none     &none  &none
&none  &none  &none  &none  &none                     &none    &mkp MB4  &mkp MB5  &none  &none
&none  &none  &none  &none  &none                     &none    &altesc   &none     &none  &none
&none  &none  &none  &none  &none  &none    &kp HOME  &kp END  &none     &none     &none  &none
            >;
        };

        NUM_FUN_2 {
            bindings = <
&none    &kp F1  &kp F2  &kp F3  &none                    &none    &kp N1  &kp N2  &kp N3  &none
&kp F10  &kp F4  &kp F5  &kp F6  &kp F11                  &kp DOT  &kp N4  &kp N5  &kp N6  &kp N0
&kp F12  &kp F7  &kp F8  &kp F9  &none                    &none    &kp N7  &kp N8  &kp N9  &none
&none    &none   &none   &none   &none    &none    &none  &none    &none   &none   &none   &none
            >;
        };

        BASIC {
            display-name = "Arrow";
            bindings = <
&kp ESCAPE            &altesc              &ctup             &saltesc          &none                         &altesc   &altesc         &kp UP_ARROW    &saltesc   &kp DELETE
&SP_SHIFTHOME LWIN 0  &SP_CTLT LEFT_ALT 0  &SP_CTDN LCTRL 0  &SP_CTRT LSHFT 0  &shiftEND                     &kp HOME  &kp LEFT_ARROW  &kp DOWN_ARROW  &kp RIGHT  &kp END
&none                 &cthome              &none             &ctend            &none                         &APPPRSC  &ctpgup         &kp SPACE       &ctpgdn    &wintab
&none                 &none                &none             &none             &none      &none    &kp HOME  &kp END   &none           &none           &none      &none
            >;

            sensor-bindings = <&encoder_kp C_VOL_UP C_VOL_DN>;
        };

        SC_SYMBOL {
            display-name = "FUNCTION";
            bindings = <
&kp EQUAL  &kp RBKT  &kp NUHS  &kp LBKT  &kp INTERNATIONAL_3                  &kp INTERNATIONAL_3  &kp LBKT  &kp RBKT  &kp NUHS  &kp EQUAL
&SQDQ      &lk       &rk       &anp      &dollar                              &dollar              &anp      &lk       &rk       &uspl
&exc       &l_tyk    &r_tyk    &hush     &percent                             &percent             &hush     &l_tyk    &r_tyk    &SQDQ
&none      &none     &none     &none     &none                &none    &none  &none                &none     &none     &none     &exc
            >;
        };
    };
};
